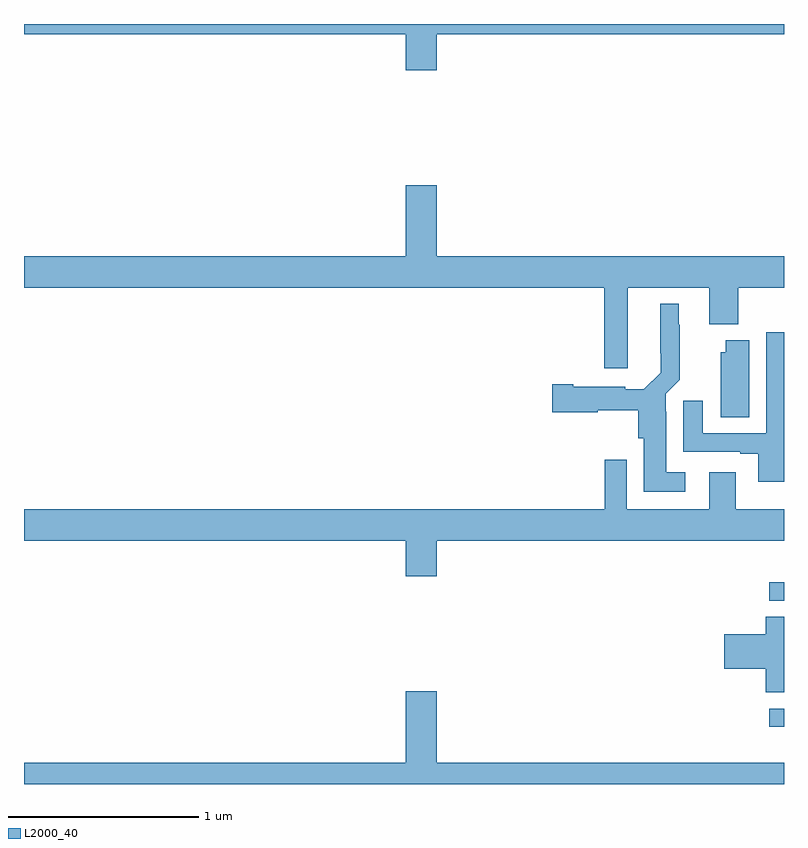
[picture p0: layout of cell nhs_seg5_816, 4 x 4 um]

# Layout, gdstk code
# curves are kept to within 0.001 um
import gdstk
lib = gdstk.Library(unit=1e-6, precision=1e-09)
def R(c, l, rs):  # rectangles x0, y0, x1, y1
    for r in rs: c.add(gdstk.rectangle(r[:2], r[2:], *l))
def P(c, l, *ps):  # polygons
    for p in ps: c.add(gdstk.Polygon(p, *l))
L2000_40 = (2000, 40)

nhs_seg5_816 = lib.new_cell('nhs_seg5_816')
R(nhs_seg5_816, L2000_40, [(166.923,869.1,167,869.196), (166.923,869.763,167,869.862)])
P(nhs_seg5_816, L2000_40, [(165.172,872.744),(167,872.744),(167,872.799),(163,872.799),(163,872.744),(165.008,872.744),(165.008,872.556),(165.172,872.556)],
  [(166.177,871.412),(166.607,871.412),(166.607,871.22),(166.76,871.22),(166.76,871.412),(167,871.412),(167,871.576),(165.172,871.576),(165.172,871.951),(165.008,871.951),(165.008,871.576),(163,871.576),(163,871.412),(166.055,871.412),(166.055,870.987),(166.177,870.987)],
  [(166.48,870.439),(166.381,870.439),(166.381,870.758),(166.377,870.758),(166.377,870.852),(166.451,870.926),(166.451,871.217),(166.447,871.217),(166.447,871.327),(166.349,871.327),(166.35,870.964),(166.263,870.877),(166.164,870.877),(166.164,870.889),(165.892,870.889),(165.892,870.902),(165.78,870.902),(165.78,870.755),(166.02,870.755),(166.02,870.767),(166.232,870.767),(166.232,870.618),(166.262,870.618),(166.262,870.338),(166.48,870.338)],
  [(167,871.177),(166.907,871.177),(166.907,870.645),(166.573,870.645),(166.573,870.817),(166.469,870.817),(166.469,870.549),(166.769,870.549),(166.769,870.537),(166.865,870.537),(166.865,870.39),(167,870.39)],
  [(166.816,871.135),(166.694,871.135),(166.694,871.071),(166.667,871.071),(166.667,870.73),(166.816,870.73)],
  [(165.172,870.08),(167,870.08),(167,870.244),(166.747,870.244),(166.747,870.439),(166.607,870.439),(166.607,870.244),(166.173,870.244),(166.173,870.505),(166.057,870.505),(166.057,870.244),(163,870.244),(163,870.08),(165.008,870.08),(165.008,869.892),(165.172,869.892)],
  [(167,869.678),(166.904,869.678),(166.904,869.588),(166.686,869.588),(166.686,869.405),(166.904,869.405),(166.904,869.281),(167,869.281)],
  [(167,868.912),(165.172,868.912),(165.172,869.287),(165.008,869.287),(165.008,868.912),(163,868.912),(163,868.799),(167,868.799)])

lib.write_gds('nhs_seg5_816.gds')
